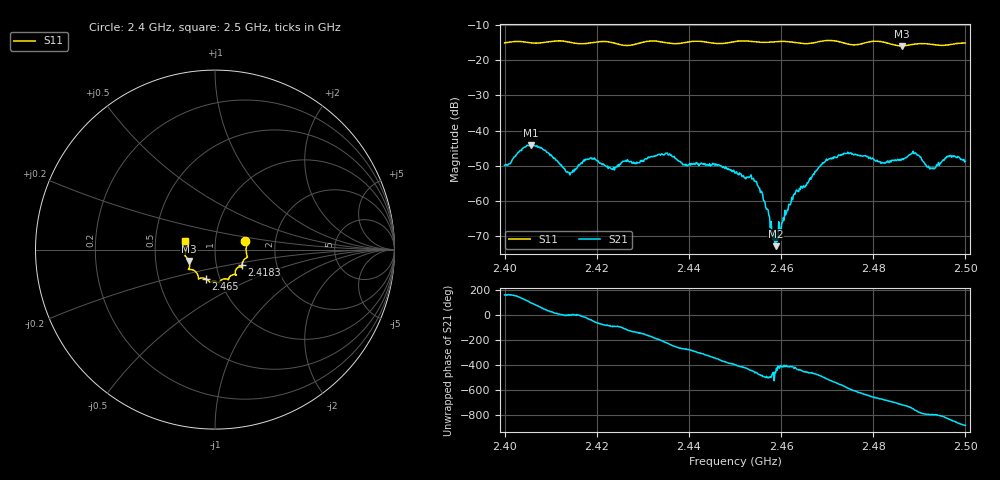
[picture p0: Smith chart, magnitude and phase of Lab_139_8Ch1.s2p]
# Hz S RI R 50
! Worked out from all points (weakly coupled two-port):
!   601 points, 2.4 GHz to 2.5 GHz, reference 50 ohm
!   highest |S21| = -44.11 dB at 2.4057 GHz (marker M1); lowest = -72.7 dB at 2.4588 GHz (marker M2)
!   lowest |S11| = -16.0 dB at 2.4862 GHz (marker M3), VSWR 1.38, Z = 37.1 - j4.82 ohm
!   |S11| at or under -10 dB: start of sweep to end of sweep
!   S12 and S22 are empty: the file has one direction only
!   S11 on the Smith chart (normalised r, x): 2.4 GHz: 1.40, +0.13; 2.4183 GHz: 1.33, -0.24; 2.465 GHz: 0.86, -0.29; 2.5 GHz: 0.71, +0.07
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2.4e9  0.1688 0.0459  -0.00298 0.00124  0 0  0 0
2.405667e9  0.1744 0.0123  -0.000679 0.00619  0 0  0 0
2.4085e9  0.1753 -0.022  0.00377 0.00374  0 0  0 0
2.413833e9  0.1737 -0.0465  0.00255 -3.09e-05  0 0  0 0
2.416667e9  0.1551 -0.0683  0.00344 -0.000717  0 0  0 0
2.418333e9  0.15 -0.0868  0.00324 -0.00227  0 0  0 0
2.4235e9  0.1461 -0.0971  -0.000276 -0.00281  0 0  0 0
2.433333e9  0.1167 -0.1411  -0.00442 0.0012  0 0  0 0
2.45e9  0.0254 -0.1805  0.00197 -0.00153  0 0  0 0
2.454833e9  0.00881 -0.1792  -0.000435 -0.00163  0 0  0 0
2.458833e9  -0.0231 -0.1802  -4.56e-05 -0.000226  0 0  0 0
2.462833e9  -0.0355 -0.1733  0.000471 -0.00117  0 0  0 0
2.465e9  -0.0527 -0.1621  -0.000107 -0.00159  0 0  0 0
2.466667e9  -0.0712 -0.1576  -0.000384 -0.00215  0 0  0 0
2.4695e9  -0.0911 -0.1635  -0.00279 -0.00228  0 0  0 0
2.474e9  -0.0956 -0.1421  -0.0039 0.00267  0 0  0 0
2.483333e9  -0.142 -0.096  0.00298 0.00196  0 0  0 0
2.486167e9  -0.1447 -0.0634  0.0039 0.000335  0 0  0 0
2.488833e9  -0.1618 -0.0413  0.00392 -0.00262  0 0  0 0
2.492667e9  -0.1647 -0.0223  0.000755 -0.00283  0 0  0 0
2.496333e9  -0.1624 0.0203  -0.00144 -0.0041  0 0  0 0
2.5e9  -0.167 0.0472  -0.00345 -0.00125  0 0  0 0
